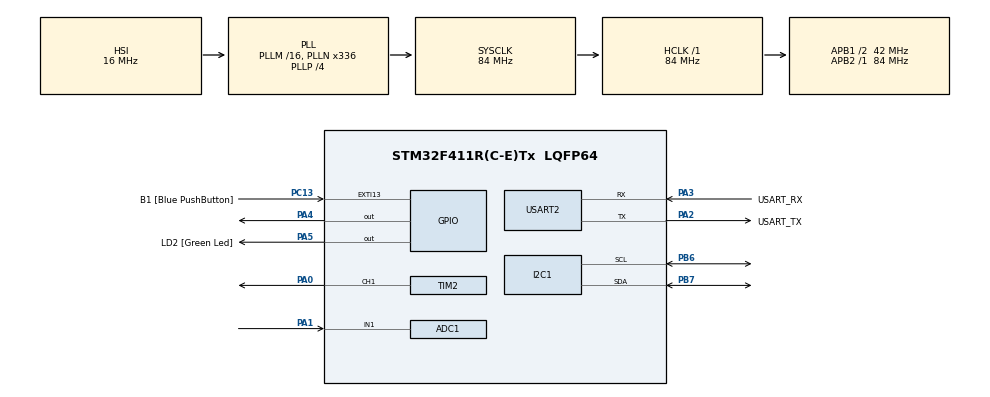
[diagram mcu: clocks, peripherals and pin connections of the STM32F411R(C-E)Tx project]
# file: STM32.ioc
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ADC1.Channel-0\#ChannelRegularConversion=ADC_CHANNEL_1
ADC1.NbrOfConversionFlag=1
ADC1.Rank-0\#ChannelRegularConversion=1
ADC1.SamplingTime-0\#ChannelRegularConversion=ADC_SAMPLETIME_3CYCLES
ADC1.master=1
I2C1.OwnAddress=8
Mcu.Family=STM32F4
Mcu.Name=STM32F411R(C-E)Tx
Mcu.Package=LQFP64
NVIC.PriorityGroup=NVIC_PRIORITYGROUP_0
PA0-WKUP.Signal=S_TIM2_CH1_ETR
PA1.Signal=ADCx_IN1
PA13.GPIO_Label=TMS
PA13.Mode=Serial_Wire
PA13.Signal=SYS_JTMS-SWDIO
PA14.GPIO_Label=TCK
PA14.Mode=Serial_Wire
PA14.Signal=SYS_JTCK-SWCLK
PA2.GPIO_Label=USART_TX
PA2.Mode=Asynchronous
PA2.Signal=USART2_TX
PA3.GPIO_Label=USART_RX
PA3.Mode=Asynchronous
PA3.Signal=USART2_RX
PA4.Signal=GPIO_Output
PA5.GPIO_Label=LD2 [Green Led]
PA5.Signal=GPIO_Output
PB3.GPIO_Label=SWO
PB3.Signal=SYS_JTDO-SWO
PB6.Mode=I2C
PB6.Signal=I2C1_SCL
PB7.Mode=I2C
PB7.Signal=I2C1_SDA
PC13-ANTI_TAMP.GPIO_Label=B1 [Blue PushButton]
PC13-ANTI_TAMP.GPIO_ModeDefaultEXTI=GPIO_MODE_IT_FALLING
PC13-ANTI_TAMP.Signal=GPXTI13
PC14-OSC32_IN.Mode=LSE-External-Oscillator
PC14-OSC32_IN.Signal=RCC_OSC32_IN
PC15-OSC32_OUT.Mode=LSE-External-Oscillator
PC15-OSC32_OUT.Signal=RCC_OSC32_OUT
PH0\ -\ OSC_IN.Mode=HSE-External-Clock-Source
PH0\ -\ OSC_IN.Signal=RCC_OSC_IN
PH1\ -\ OSC_OUT.Mode=HSE-External-Clock-Source
PH1\ -\ OSC_OUT.Signal=RCC_OSC_OUT
ProjectManager.HeapSize=0x200
ProjectManager.StackSize=0x400
ProjectManager.TargetToolchain=STM32CubeIDE
RCC.48MHZClocksFreq_Value=84000000
RCC.AHBFreq_Value=84000000
RCC.APB1CLKDivider=RCC_HCLK_DIV2
RCC.APB1Freq_Value=42000000
RCC.APB1TimFreq_Value=84000000
RCC.APB2Freq_Value=84000000
RCC.APB2TimFreq_Value=84000000
RCC.CortexFreq_Value=84000000
RCC.FLatency-AdvancedSettings=FLASH_LATENCY_2
RCC.HCLKFreq_Value=84000000
RCC.HSE_VALUE=8000000
RCC.HSI_VALUE=16000000
RCC.PLLN=336
RCC.PLLP=RCC_PLLP_DIV4
RCC.SYSCLKFreq_VALUE=84000000
RCC.SYSCLKSource=RCC_SYSCLKSOURCE_PLLCLK
RCC.VCOOutputFreq_Value=336000000
SH.ADCx_IN1.0=ADC1_IN1,IN1
SH.S_TIM2_CH1_ETR.0=TIM2_CH1,PWM Generation1 CH1
TIM1.Period=0xfff-1
TIM1.Prescaler=84-1
TIM2.Channel-PWM\ Generation1\ CH1=TIM_CHANNEL_1
TIM2.Period=100
TIM2.Prescaler=8400-1
USART2.VirtualMode=VM_ASYNC
VP_TIM1_VS_ClockSourceINT.Mode=Internal
VP_TIM2_VS_ClockSourceINT.Mode=Internal
board=NUCLEO-F411RE

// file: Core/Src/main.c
/* USER CODE BEGIN Header */
/**
  ******************************************************************************
  * @file           : main.c
  * @brief          : Main program body
  ******************************************************************************
  * @attention
  *
  * <h2><center>&copy; Copyright (c) 2022 STMicroelectronics.
  * All rights reserved.</center></h2>
  *
  * This software component is licensed by ST under BSD 3-Clause license,
  * the "License"; You may not use this file except in compliance with the
  * License. You may obtain a copy of the License at:
  *                        opensource.org/licenses/BSD-3-Clause
  *
  ******************************************************************************
  */
/* USER CODE END Header */
#include "main.h"

ADC_HandleTypeDef hadc1;

I2C_HandleTypeDef hi2c1;

TIM_HandleTypeDef htim1;
TIM_HandleTypeDef htim2;

UART_HandleTypeDef huart2;

void SystemClock_Config(void);
static void MX_GPIO_Init(void);
static void MX_USART2_UART_Init(void);
static void MX_ADC1_Init(void);
static void MX_I2C1_Init(void);
static void MX_TIM1_Init(void);
static void MX_TIM2_Init(void);

/* USER CODE BEGIN 0 */
uint8_t h_byte1, h_byte2, t_byte1, t_byte2;
uint16_t sum,h,t;
float temp;
float humid;
uint8_t pres = 0;
#define DHT22_PORT GPIOA
#define DHT22_PIN GPIO_PIN_4
int reqwater;

void delay(uint16_t time){
	__HAL_TIM_SET_COUNTER(&htim1,0);
	while(__HAL_TIM_GET_COUNTER(&htim1) < time);
}

void Set_Pin_Output(GPIO_TypeDef *GPIOx, uint16_t GPIO_Pin){
	GPIO_InitTypeDef GPIO_InitStruct = {0};
	GPIO_InitStruct.Pin = GPIO_Pin;
	GPIO_InitStruct.Mode = GPIO_MODE_OUTPUT_PP;
	GPIO_InitStruct.Speed = GPIO_SPEED_FREQ_LOW;
	HAL_GPIO_Init(GPIOx, &GPIO_InitStruct);
}

void Set_Pin_Input (GPIO_TypeDef *GPIOx, uint16_t GPIO_Pin){
	GPIO_InitTypeDef GPIO_InitStruct = {0};
	GPIO_InitStruct.Pin = GPIO_Pin;
	GPIO_InitStruct.Mode = GPIO_MODE_INPUT;
	GPIO_InitStruct.Pull = GPIO_PULLUP;
	HAL_GPIO_Init(GPIOx, &GPIO_InitStruct);
}

void DHT22_Start (void)
{
	Set_Pin_Output(DHT22_PORT, DHT22_PIN); // set the pin as output
	HAL_GPIO_WritePin (DHT22_PORT, DHT22_PIN, 1);
	HAL_Delay(10);
	HAL_GPIO_WritePin (DHT22_PORT, DHT22_PIN, 0);   // pull the pin low
	delay(1500);   // wait for > 1ms

	HAL_GPIO_WritePin (DHT22_PORT, DHT22_PIN, 1);   // pull the pin high
	delay(20);   // wait for 30us

	Set_Pin_Input(DHT22_PORT, DHT22_PIN);   // set as input
}

uint8_t DHT22_Check_Response (void)
{
	Set_Pin_Input(DHT22_PORT, DHT22_PIN);   // set as input
	uint8_t Response = 0;
	delay(40);  // wait for 40us
	if (!(HAL_GPIO_ReadPin (DHT22_PORT, DHT22_PIN))) // if the pin is low
	{
		delay(80);   // wait for 80us

		if ((HAL_GPIO_ReadPin (DHT22_PORT, DHT22_PIN))) Response = 1;  // if the pin is high, response is ok
		else Response = -1;
	}

	while ((HAL_GPIO_ReadPin (DHT22_PORT, DHT22_PIN)));   // wait for the pin to go low
	return Response;
}

uint8_t DHT22_Read (void)
{
	uint8_t i,j;
	for (j=0;j<8;j++)
	{
		delay(10);
		while (!(HAL_GPIO_ReadPin (DHT22_PORT, DHT22_PIN)));   // wait for the pin to go high
		delay(30);   // wait for 40 us

		if (!(HAL_GPIO_ReadPin (DHT22_PORT, DHT22_PIN)))   // if the pin is low
		{
			i&= ~(1<<(7-j));   // write 0
		}
		else i|= (1<<(7-j));  // if the pin is high, write 1
		while (HAL_GPIO_ReadPin(DHT22_PORT, DHT22_PIN));  // wait for the pin to go low
	}

	return i;
}
/* USER CODE END 0 */

int main(void)
{

  /* MCU Configuration--------------------------------------------------------*/

  /* Reset of all peripherals, Initializes the Flash interface and the Systick. */
  HAL_Init();

  /* Configure the system clock */
  SystemClock_Config();

  /* Initialize all configured peripherals */
  MX_GPIO_Init();
  MX_USART2_UART_Init();
  MX_ADC1_Init();
  MX_I2C1_Init();
  MX_TIM1_Init();
  MX_TIM2_Init();
  /* USER CODE BEGIN 2 */
  HAL_TIM_Base_Start(&htim1);
  HAL_TIM_PWM_Start(&htim2, TIM_CHANNEL_1);
  /* USER CODE END 2 */

  /* Infinite loop */
  /* USER CODE BEGIN WHILE */
  char buffer[100];
  char tmp[3];
  char p='%';
  char logger[100];
  uint64_t ADCValue;
  float ADCpercent;
  int state=0;

  while (1)
  {
	  // DHT 22
	  DHT22_Start();
	  pres = DHT22_Check_Response();
	  h_byte1 = DHT22_Read();
	  h_byte2 = DHT22_Read();
	  t_byte1 = DHT22_Read();
	  t_byte2 = DHT22_Read();
	  sum = DHT22_Read();

	  t = (t_byte1<<8)|t_byte2;
	  h = (h_byte1<<8)|h_byte2;
	  temp = (float) (t/10.0);
	  humid = (float)(h/10.0);
	  humid = (humid>99.9) ? 99.9 : humid;

	  //SOIL MOISTURE
	  HAL_ADC_Start(&hadc1);
	  if (HAL_ADC_PollForConversion(&hadc1, 1000000) == HAL_OK) {
		  ADCValue = HAL_ADC_GetValue(&hadc1);
		  ADCpercent = 0.02528;
		  ADCpercent = -(float)(ADCValue)*ADCpercent+112.4;
		  ADCpercent = (ADCpercent>99.9) ? 99.9 : ADCpercent;
	  }

	  // I2C Transmit
	  sprintf(buffer,"%04.1f%04.1f%04.1f",temp,humid,ADCpercent); // force xx.x
	  HAL_I2C_Slave_Transmit(&hi2c1, &buffer, strlen(buffer), HAL_MAX_DELAY);

	  // I2C Receive
	  HAL_I2C_Slave_Receive(&hi2c1, &tmp, strlen(tmp), HAL_MAX_DELAY);
	  reqwater = atoi(tmp);

	  // Water Pump
	  /* state 0 = off
	   * state 1 = on */
	  if (state==0 && reqwater==1) {
		  state=1;
		  for (int i=0;i<450;i++) {
			  TIM2->CCR1 = (i>100) ? 100 : i;
			  HAL_Delay(10);
		  }
	  }
	  else if (state==1) {
		  state=0;
		  for (int i=449;i>=0;i--) {
			  TIM2->CCR1 = (i>100) ? 100 : i;
			  HAL_Delay(10);
		  }
	  }
	  else {
		  HAL_Delay(5000);
	  }

	  // CONSOLE LOGS
	  sprintf(logger, "soilhumid : %.1f , airtemp : %.1f C , airhumid : %.1f%c , reqwater : %d \r\n",ADCpercent,temp,humid,p,reqwater);
	  HAL_UART_Transmit(&huart2, &logger, strlen(logger), HAL_MAX_DELAY);

    /* USER CODE END WHILE */

  }
}

void SystemClock_Config(void)
{
  RCC_OscInitTypeDef RCC_OscInitStruct = {0};
  RCC_ClkInitTypeDef RCC_ClkInitStruct = {0};

  /** Configure the main internal regulator output voltage
  */
  __HAL_RCC_PWR_CLK_ENABLE();
  __HAL_PWR_VOLTAGESCALING_CONFIG(PWR_REGULATOR_VOLTAGE_SCALE1);
  /** Initializes the RCC Oscillators according to the specified parameters
  * in the RCC_OscInitTypeDef structure.
  */
  RCC_OscInitStruct.OscillatorType = RCC_OSCILLATORTYPE_HSI;
  RCC_OscInitStruct.HSIState = RCC_HSI_ON;
  RCC_OscInitStruct.HSICalibrationValue = RCC_HSICALIBRATION_DEFAULT;
  RCC_OscInitStruct.PLL.PLLState = RCC_PLL_ON;
  RCC_OscInitStruct.PLL.PLLSource = RCC_PLLSOURCE_HSI;
  RCC_OscInitStruct.PLL.PLLM = 16;
  RCC_OscInitStruct.PLL.PLLN = 336;
  RCC_OscInitStruct.PLL.PLLP = RCC_PLLP_DIV4;
  RCC_OscInitStruct.PLL.PLLQ = 4;
  if (HAL_RCC_OscConfig(&RCC_OscInitStruct) != HAL_OK)
  {
    Error_Handler();
  }
  /** Initializes the CPU, AHB and APB buses clocks
  */
  RCC_ClkInitStruct.ClockType = RCC_CLOCKTYPE_HCLK|RCC_CLOCKTYPE_SYSCLK
                              |RCC_CLOCKTYPE_PCLK1|RCC_CLOCKTYPE_PCLK2;
  RCC_ClkInitStruct.SYSCLKSource = RCC_SYSCLKSOURCE_PLLCLK;
  RCC_ClkInitStruct.AHBCLKDivider = RCC_SYSCLK_DIV1;
  RCC_ClkInitStruct.APB1CLKDivider = RCC_HCLK_DIV2;
  RCC_ClkInitStruct.APB2CLKDivider = RCC_HCLK_DIV1;

  if (HAL_RCC_ClockConfig(&RCC_ClkInitStruct, FLASH_LATENCY_2) != HAL_OK)
  {
    Error_Handler();
  }
}

static void MX_ADC1_Init(void)
{

  ADC_ChannelConfTypeDef sConfig = {0};

  /** Configure the global features of the ADC (Clock, Resolution, Data Alignment and number of conversion)
  */
  hadc1.Instance = ADC1;
  hadc1.Init.ClockPrescaler = ADC_CLOCK_SYNC_PCLK_DIV4;
  hadc1.Init.Resolution = ADC_RESOLUTION_12B;
  hadc1.Init.ScanConvMode = DISABLE;
  hadc1.Init.ContinuousConvMode = DISABLE;
  hadc1.Init.DiscontinuousConvMode = DISABLE;
  hadc1.Init.ExternalTrigConvEdge = ADC_EXTERNALTRIGCONVEDGE_NONE;
  hadc1.Init.ExternalTrigConv = ADC_SOFTWARE_START;
  hadc1.Init.DataAlign = ADC_DATAALIGN_RIGHT;
  hadc1.Init.NbrOfConversion = 1;
  hadc1.Init.DMAContinuousRequests = DISABLE;
  hadc1.Init.EOCSelection = ADC_EOC_SINGLE_CONV;
  if (HAL_ADC_Init(&hadc1) != HAL_OK)
  {
    Error_Handler();
  }
  /** Configure for the selected ADC regular channel its corresponding rank in the sequencer and its sample time.
  */
  sConfig.Channel = ADC_CHANNEL_1;
  sConfig.Rank = 1;
  sConfig.SamplingTime = ADC_SAMPLETIME_3CYCLES;
  if (HAL_ADC_ConfigChannel(&hadc1, &sConfig) != HAL_OK)
  {
    Error_Handler();
  }

}

static void MX_I2C1_Init(void)
{

  hi2c1.Instance = I2C1;
  hi2c1.Init.ClockSpeed = 100000;
  hi2c1.Init.DutyCycle = I2C_DUTYCYCLE_2;
  hi2c1.Init.OwnAddress1 = 16;
  hi2c1.Init.AddressingMode = I2C_ADDRESSINGMODE_7BIT;
  hi2c1.Init.DualAddressMode = I2C_DUALADDRESS_DISABLE;
  hi2c1.Init.OwnAddress2 = 0;
  hi2c1.Init.GeneralCallMode = I2C_GENERALCALL_DISABLE;
  hi2c1.Init.NoStretchMode = I2C_NOSTRETCH_DISABLE;
  if (HAL_I2C_Init(&hi2c1) != HAL_OK)
  {
    Error_Handler();
  }

}

static void MX_TIM1_Init(void)
{

  TIM_ClockConfigTypeDef sClockSourceConfig = {0};
  TIM_MasterConfigTypeDef sMasterConfig = {0};

  htim1.Instance = TIM1;
  htim1.Init.Prescaler = 84-1;
  htim1.Init.CounterMode = TIM_COUNTERMODE_UP;
  htim1.Init.Period = 0xfff-1;
  htim1.Init.ClockDivision = TIM_CLOCKDIVISION_DIV1;
  htim1.Init.RepetitionCounter = 0;
  htim1.Init.AutoReloadPreload = TIM_AUTORELOAD_PRELOAD_DISABLE;
  if (HAL_TIM_Base_Init(&htim1) != HAL_OK)
  {
    Error_Handler();
  }
  sClockSourceConfig.ClockSource = TIM_CLOCKSOURCE_INTERNAL;
  if (HAL_TIM_ConfigClockSource(&htim1, &sClockSourceConfig) != HAL_OK)
  {
    Error_Handler();
  }
  sMasterConfig.MasterOutputTrigger = TIM_TRGO_RESET;
  sMasterConfig.MasterSlaveMode = TIM_MASTERSLAVEMODE_DISABLE;
  if (HAL_TIMEx_MasterConfigSynchronization(&htim1, &sMasterConfig) != HAL_OK)
  {
    Error_Handler();
  }

}

static void MX_TIM2_Init(void)
{

  TIM_ClockConfigTypeDef sClockSourceConfig = {0};
  TIM_MasterConfigTypeDef sMasterConfig = {0};
  TIM_OC_InitTypeDef sConfigOC = {0};

  htim2.Instance = TIM2;
  htim2.Init.Prescaler = 8400-1;
  htim2.Init.CounterMode = TIM_COUNTERMODE_UP;
  htim2.Init.Period = 100;
  htim2.Init.ClockDivision = TIM_CLOCKDIVISION_DIV1;
  htim2.Init.AutoReloadPreload = TIM_AUTORELOAD_PRELOAD_DISABLE;
  if (HAL_TIM_Base_Init(&htim2) != HAL_OK)
  {
    Error_Handler();
  }
  sClockSourceConfig.ClockSource = TIM_CLOCKSOURCE_INTERNAL;
  if (HAL_TIM_ConfigClockSource(&htim2, &sClockSourceConfig) != HAL_OK)
  {
    Error_Handler();
  }
  if (HAL_TIM_PWM_Init(&htim2) != HAL_OK)
  {
    Error_Handler();
  }
  sMasterConfig.MasterOutputTrigger = TIM_TRGO_RESET;
  sMasterConfig.MasterSlaveMode = TIM_MASTERSLAVEMODE_DISABLE;
  if (HAL_TIMEx_MasterConfigSynchronization(&htim2, &sMasterConfig) != HAL_OK)
  {
    Error_Handler();
  }
  sConfigOC.OCMode = TIM_OCMODE_PWM1;
  sConfigOC.Pulse = 0;
  sConfigOC.OCPolarity = TIM_OCPOLARITY_HIGH;
  sConfigOC.OCFastMode = TIM_OCFAST_DISABLE;
  if (HAL_TIM_PWM_ConfigChannel(&htim2, &sConfigOC, TIM_CHANNEL_1) != HAL_OK)
  {
    Error_Handler();
  }
  HAL_TIM_MspPostInit(&htim2);

}

static void MX_USART2_UART_Init(void)
{

  huart2.Instance = USART2;
  huart2.Init.BaudRate = 115200;
  huart2.Init.WordLength = UART_WORDLENGTH_8B;
  huart2.Init.StopBits = UART_STOPBITS_1;
  huart2.Init.Parity = UART_PARITY_NONE;
  huart2.Init.Mode = UART_MODE_TX_RX;
  huart2.Init.HwFlowCtl = UART_HWCONTROL_NONE;
  huart2.Init.OverSampling = UART_OVERSAMPLING_16;
  if (HAL_UART_Init(&huart2) != HAL_OK)
  {
    Error_Handler();
  }

}

static void MX_GPIO_Init(void)
{
  GPIO_InitTypeDef GPIO_InitStruct = {0};

  /* GPIO Ports Clock Enable */
  __HAL_RCC_GPIOC_CLK_ENABLE();
  __HAL_RCC_GPIOH_CLK_ENABLE();
  __HAL_RCC_GPIOA_CLK_ENABLE();
  __HAL_RCC_GPIOB_CLK_ENABLE();

  /*Configure GPIO pin Output Level */
  HAL_GPIO_WritePin(GPIOA, GPIO_PIN_4|LD2_Pin, GPIO_PIN_RESET);

  /*Configure GPIO pin : B1_Pin */
  GPIO_InitStruct.Pin = B1_Pin;
  GPIO_InitStruct.Mode = GPIO_MODE_IT_FALLING;
  GPIO_InitStruct.Pull = GPIO_NOPULL;
  HAL_GPIO_Init(B1_GPIO_Port, &GPIO_InitStruct);

  /*Configure GPIO pins : PA4 LD2_Pin */
  GPIO_InitStruct.Pin = GPIO_PIN_4|LD2_Pin;
  GPIO_InitStruct.Mode = GPIO_MODE_OUTPUT_PP;
  GPIO_InitStruct.Pull = GPIO_NOPULL;
  GPIO_InitStruct.Speed = GPIO_SPEED_FREQ_LOW;
  HAL_GPIO_Init(GPIOA, &GPIO_InitStruct);

}

void Error_Handler(void)
{
  __disable_irq();
  while (1)
  {
  }
}

/************************ (C) COPYRIGHT STMicroelectronics *****END OF FILE****/
